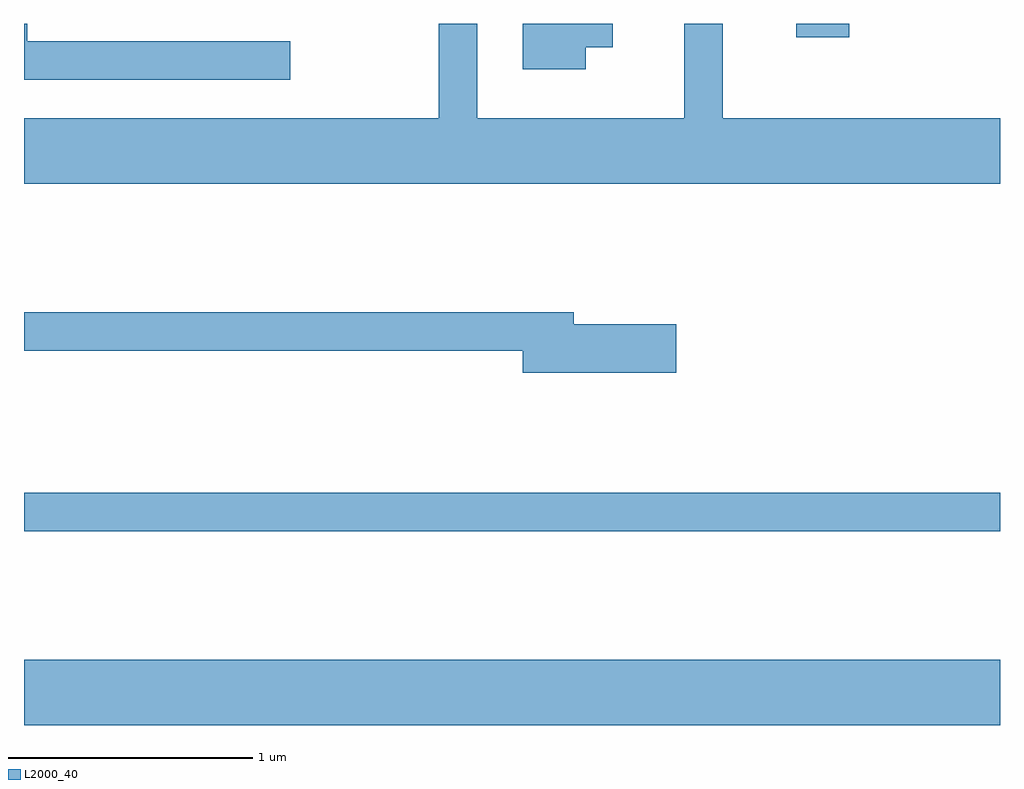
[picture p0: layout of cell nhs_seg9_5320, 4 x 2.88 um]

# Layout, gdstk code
import gdstk
lib = gdstk.Library(unit=1e-6, precision=1e-09)
def R(c, l, rs):  # rectangles x0, y0, x1, y1
    for r in rs: c.add(gdstk.rectangle(r[:2], r[2:], *l))
def P(c, l, *ps):  # polygons
    for p in ps: c.add(gdstk.Polygon(p, *l))
L2000_40 = (2000, 40)

nhs_seg9_5320 = lib.new_cell('nhs_seg9_5320')
R(nhs_seg9_5320, L2000_40, [(341.611,2029.556,345.611,2029.824), (341.611,2030.351,345.611,2030.509), (344.776,2032.376,344.994,2032.432)])
P(nhs_seg9_5320, L2000_40, [(345.611,2032.044),(344.474,2032.044),(344.474,2032.432),(344.316,2032.432),(344.316,2032.044),(343.469,2032.044),(343.469,2032.432),(343.311,2032.432),(343.311,2032.044),(341.611,2032.044),(341.611,2031.776),(345.611,2031.776)],
  [(343.914,2032.336),(344.024,2032.336),(344.024,2032.432),(343.656,2032.432),(343.656,2032.246),(343.914,2032.246)],
  [(342.703,2032.359),(341.624,2032.359),(341.624,2032.432),(341.611,2032.432),(341.611,2032.201),(342.703,2032.201)],
  [(344.284,2031.199),(343.864,2031.199),(343.864,2031.249),(341.611,2031.249),(341.611,2031.091),(343.656,2031.091),(343.656,2031.001),(344.284,2031.001)])

lib.write_gds('nhs_seg9_5320.gds')
